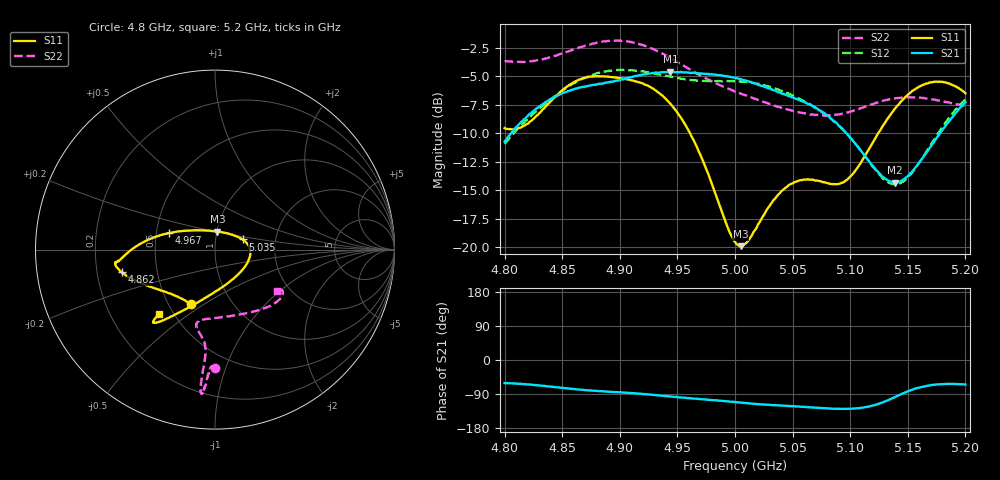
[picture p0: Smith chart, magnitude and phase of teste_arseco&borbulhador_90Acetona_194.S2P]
! Network Analyzer HP8722D
! Hewlett-Packard
! Data name: Linha & Wilkinson
! Saver's name: Rodrigo Anjos
! Comments: Teste da utilização de aquisição
! continua pelo VNA HP8722D
! Time and date: 17/4/2025 12:40
!  Frequency  S11  S21  S12  S22
# HZ  S  MA R 50
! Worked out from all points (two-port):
!   401 points, 4.8 GHz to 5.2 GHz, reference 50 ohm
!   highest |S21| = -4.62 dB at 4.944 GHz (marker M1); lowest = -14.3 dB at 5.139 GHz (marker M2)
!   |S21| within 3 dB of the highest: 4.831 GHz to 5.067 GHz (236.5 MHz wide, 4.78 % of centre); 5.19681 GHz to end of sweep
!   lowest |S11| = -19.9 dB at 5.005 GHz (marker M3), VSWR 1.22, Z = 50.3 + j10.2 ohm
!   |S11| at or under -10 dB: 4.961 GHz to 5.124 GHz (163.4 MHz wide, 3.24 % of centre)
!   |S22| runs from -8.5 to -1.9 dB; largest |S21 - S12| = 0.88
!   S11 on the Smith chart (normalised r, x): 4.8 GHz: 0.64, -0.44; 4.862 GHz: 0.31, -0.11; 4.967 GHz: 0.58, +0.12; 5.035 GHz: 1.35, +0.16; 5.2 GHz: 0.42, -0.39
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4.8e9  0.3328 -113.9  0.2906 -60.9  0.2843 -175.2  0.657 -89.9
4.819e9  0.3459 -133.9  0.3723 -64.3  0.3606 -173.7  0.6516 -91.5
4.862e9  0.5349 -166.3  0.4968 -77.2  0.5306 -177.0  0.7434 -93.8
4.867e9  0.5477 -168.3  0.5039 -78.6  0.5454 -177.9  0.7569 -94.0
4.899e9  0.5522 -172.9  0.5383 -85.2  0.5991 175.4  0.8044 -95.4
4.934e9  0.4751 -179.1  0.5833 -93.7  0.5733 171.8  0.7181 -96.0
4.944e9  0.4256 176.3  0.5878 -96.5  0.5591 171.9  0.6752 -95.7
4.967e9  0.2745 160.4  0.5799 -102.4  0.5375 173.9  0.577 -95.2
5e9  0.1058 99.8  0.5526 -111.3  0.5352 176.0  0.4816 -99.4
5.005e9  0.1011 82.5  0.5462 -112.8  0.5322 176.1  0.471 -100.7
5.012e9  0.1076 60.8  0.5333 -114.2  0.5268 175.7  0.4583 -102.1
5.035e9  0.1639 20.1  0.4857 -119.5  0.4965 174.6  0.4166 -103.7
5.049e9  0.1898 5.9  0.4551 -121.6  0.4655 174.0  0.3974 -100.3
5.067e9  0.1977 -13.4  0.4167 -125.0  0.4176 173.6  0.3823 -91.0
5.086e9  0.1891 -43.5  0.3567 -128.4  0.3557 173.6  0.3799 -76.7
5.097e9  0.1971 -66.2  0.3147 -128.9  0.3143 174.4  0.3891 -67.6
5.134e9  0.3752 -116.9  0.1951 -104.5  0.1911 -157.4  0.4451 -43.1
5.139e9  0.4063 -119.9  0.1921 -97.5  0.1887 -149.5  0.4497 -40.9
5.151e9  0.4703 -125.0  0.2075 -81.6  0.2047 -131.0  0.4547 -36.6
5.17e9  0.528 -129.4  0.2767 -66.4  0.282 -112.5  0.4458 -32.1
5.184e9  0.5252 -130.7  0.3479 -63.1  0.359 -107.3  0.433 -31.1
5.2e9  0.4734 -131.1  0.4323 -64.5  0.4442 -106.5  0.4163 -33.5
